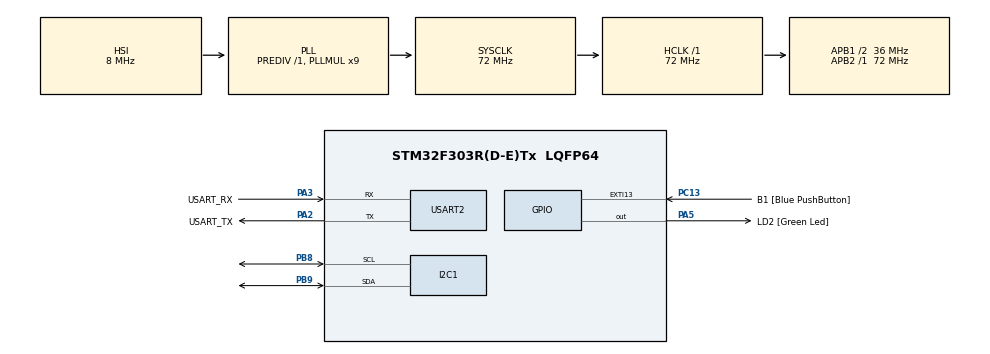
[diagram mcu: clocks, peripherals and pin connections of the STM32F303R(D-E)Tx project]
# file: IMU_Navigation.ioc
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I2C1.Timing=0x00201D2B
Mcu.Family=STM32F3
Mcu.Name=STM32F303R(D-E)Tx
Mcu.Package=LQFP64
NVIC.PriorityGroup=NVIC_PRIORITYGROUP_0
PA13.GPIO_Label=TMS
PA13.Mode=Serial_Wire
PA13.Signal=SYS_JTMS-SWDIO
PA14.GPIO_Label=TCK
PA14.Mode=Serial_Wire
PA14.Signal=SYS_JTCK-SWCLK
PA2.GPIO_Label=USART_TX
PA2.GPIO_Mode=GPIO_MODE_AF_PP
PA2.GPIO_PuPd=GPIO_NOPULL
PA2.GPIO_Speed=GPIO_SPEED_FREQ_LOW
PA2.Mode=Asynchronous
PA2.Signal=USART2_TX
PA3.GPIO_Label=USART_RX
PA3.GPIO_Mode=GPIO_MODE_AF_PP
PA3.GPIO_PuPd=GPIO_NOPULL
PA3.GPIO_Speed=GPIO_SPEED_FREQ_LOW
PA3.Mode=Asynchronous
PA3.Signal=USART2_RX
PA5.GPIO_Label=LD2 [Green Led]
PA5.GPIO_Mode=GPIO_MODE_OUTPUT_PP
PA5.GPIO_PuPd=GPIO_NOPULL
PA5.GPIO_Speed=GPIO_SPEED_FREQ_LOW
PA5.Signal=GPIO_Output
PB3.GPIO_Label=SWO
PB3.Signal=SYS_JTDO-TRACESWO
PB8.Mode=I2C
PB8.Signal=I2C1_SCL
PB9.Mode=I2C
PB9.Signal=I2C1_SDA
PC13.GPIO_Label=B1 [Blue PushButton]
PC13.GPIO_ModeDefaultEXTI=GPIO_MODE_IT_FALLING
PC13.Signal=GPXTI13
PC14-OSC32_IN.Mode=LSE-External-Oscillator
PC14-OSC32_IN.Signal=RCC_OSC32_IN
PC15-OSC32_OUT.Mode=LSE-External-Oscillator
PC15-OSC32_OUT.Signal=RCC_OSC32_OUT
PF0-OSC_IN.Mode=HSE-External-Clock-Source
PF0-OSC_IN.Signal=RCC_OSC_IN
PF1-OSC_OUT.Signal=RCC_OSC_OUT
ProjectManager.HeapSize=0x200
ProjectManager.StackSize=0x400
ProjectManager.TargetToolchain=STM32CubeIDE
RCC.AHBFreq_Value=72000000
RCC.APB1CLKDivider=RCC_HCLK_DIV2
RCC.APB1Freq_Value=36000000
RCC.APB1TimFreq_Value=72000000
RCC.APB2Freq_Value=72000000
RCC.APB2TimFreq_Value=72000000
RCC.CortexFreq_Value=72000000
RCC.HCLKFreq_Value=72000000
RCC.HSE_VALUE=8000000
RCC.HSI_VALUE=8000000
RCC.PLLM=8
RCC.PLLMUL=RCC_PLL_MUL9
RCC.PLLN=336
RCC.PLLP=RCC_PLLP_DIV4
RCC.PLLQ=7
RCC.RCC_PLLsource_Clock_Source_FROM_HSE=RCC_HSE_PREDIV_DIV2
RCC.SYSCLKFreq_VALUE=72000000
RCC.SYSCLKSourceVirtual=RCC_SYSCLKSOURCE_PLLCLK
RCC.USBFreq_Value=72000000
USART2.VirtualMode-Asynchronous=VM_ASYNC
board=NUCLEO-F303RE

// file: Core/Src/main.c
/* USER CODE BEGIN Header */
/**
  ******************************************************************************
  * @file           : main.c
  * @brief          : Main program body
  ******************************************************************************
  * @attention
  *
  * Copyright (c) 2025 STMicroelectronics.
  * All rights reserved.
  *
  * This software is licensed under terms that can be found in the LICENSE file
  * in the root directory of this software component.
  * If no LICENSE file comes with this software, it is provided AS-IS.
  *
  ******************************************************************************
  */
/* USER CODE END Header */
#include "main.h"
#include "i2c.h"
#include "usart.h"
#include "gpio.h"

/* USER CODE BEGIN Includes */
#include <stdio.h>
#include <stdbool.h>
/* USER CODE END Includes */

/* USER CODE BEGIN PV */
int counter = 0;
/* USER CODE END PV */

void SystemClock_Config(void);
/* USER CODE BEGIN PFP */
void scan_i2c_bus(void);
bool is_i2c_device_connected(uint8_t address);
/* USER CODE END PFP */

/* USER CODE BEGIN 0 */
int _write(int file, char *ptr, int len)
{
	for (int i = 0; i < len; i++) {
		ITM_SendChar(*ptr++);
	}
	return len;
}

void scan_i2c_bus(void) {
	printf("Starting I2C Scanner...\n");
	int found_devices = 0; // reset device counter
	for (int i2c_address = 1; i2c_address < 128; i2c_address++) {
		HAL_StatusTypeDef status;

		// Check if a device acknowledges the address
		status = HAL_I2C_IsDeviceReady(&hi2c1, i2c_address << 1, 3, 100);

		if (status == HAL_OK) {
			printf("0x%02X", i2c_address);
			found_devices++;
		} else {
			printf(".");  // Print a dot for no device at this address
		}
	}

	if (found_devices == 0) {
		printf("\nNo I2C devices found.\n");
	} else {
		printf("\nScan complete. Found %d device(s).\n", found_devices);
	}
}

bool is_i2c_device_connected(uint8_t address) {
	HAL_StatusTypeDef status = HAL_I2C_IsDeviceReady(&hi2c1, address << 1, 3, HAL_MAX_DELAY);
	return (status == HAL_OK) ? 1 : 0;
}
/* USER CODE END 0 */

int main(void)
{

  /* MCU Configuration--------------------------------------------------------*/

  /* Reset of all peripherals, Initializes the Flash interface and the Systick. */
  HAL_Init();

  /* Configure the system clock */
  SystemClock_Config();

  /* Initialize all configured peripherals */
  MX_GPIO_Init();
  MX_USART2_UART_Init();
  MX_I2C1_Init();

  /* Infinite loop */
  while (1)
  {

    /* USER CODE BEGIN 3 */
		HAL_GPIO_TogglePin(LD2_GPIO_Port, LD2_Pin);
		printf("Blink! %d\r\n", counter++);
		scan_i2c_bus();
		if (is_i2c_device_connected(0x1E)) {
			printf("Device 0x%02X is connected\r\n", 0x1E);
		} else {
			printf("Device 0x%02X not connected\r\n", 0x1E);
		}

		if (is_i2c_device_connected(0x1)) {
			printf("Device 0x%02X is connected\r\n", 0x1);
		} else {
			printf("Device 0x%02X not connected\r\n", 0x1);
		}
		HAL_Delay(3000);
  }
  /* USER CODE END 3 */
}

void SystemClock_Config(void)
{
  RCC_OscInitTypeDef RCC_OscInitStruct = {0};
  RCC_ClkInitTypeDef RCC_ClkInitStruct = {0};
  RCC_PeriphCLKInitTypeDef PeriphClkInit = {0};

  /** Initializes the RCC Oscillators according to the specified parameters
  * in the RCC_OscInitTypeDef structure.
  */
  RCC_OscInitStruct.OscillatorType = RCC_OSCILLATORTYPE_HSI;
  RCC_OscInitStruct.HSIState = RCC_HSI_ON;
  RCC_OscInitStruct.HSICalibrationValue = RCC_HSICALIBRATION_DEFAULT;
  RCC_OscInitStruct.PLL.PLLState = RCC_PLL_ON;
  RCC_OscInitStruct.PLL.PLLSource = RCC_PLLSOURCE_HSI;
  RCC_OscInitStruct.PLL.PLLMUL = RCC_PLL_MUL9;
  RCC_OscInitStruct.PLL.PREDIV = RCC_PREDIV_DIV1;
  if (HAL_RCC_OscConfig(&RCC_OscInitStruct) != HAL_OK)
  {
    Error_Handler();
  }

  /** Initializes the CPU, AHB and APB buses clocks
  */
  RCC_ClkInitStruct.ClockType = RCC_CLOCKTYPE_HCLK|RCC_CLOCKTYPE_SYSCLK
                              |RCC_CLOCKTYPE_PCLK1|RCC_CLOCKTYPE_PCLK2;
  RCC_ClkInitStruct.SYSCLKSource = RCC_SYSCLKSOURCE_PLLCLK;
  RCC_ClkInitStruct.AHBCLKDivider = RCC_SYSCLK_DIV1;
  RCC_ClkInitStruct.APB1CLKDivider = RCC_HCLK_DIV2;
  RCC_ClkInitStruct.APB2CLKDivider = RCC_HCLK_DIV1;

  if (HAL_RCC_ClockConfig(&RCC_ClkInitStruct, FLASH_LATENCY_2) != HAL_OK)
  {
    Error_Handler();
  }
  PeriphClkInit.PeriphClockSelection = RCC_PERIPHCLK_USART2|RCC_PERIPHCLK_I2C1;
  PeriphClkInit.Usart2ClockSelection = RCC_USART2CLKSOURCE_PCLK1;
  PeriphClkInit.I2c1ClockSelection = RCC_I2C1CLKSOURCE_HSI;
  if (HAL_RCCEx_PeriphCLKConfig(&PeriphClkInit) != HAL_OK)
  {
    Error_Handler();
  }
}

void Error_Handler(void)
{
  __disable_irq();
  while (1)
  {
  }
}
